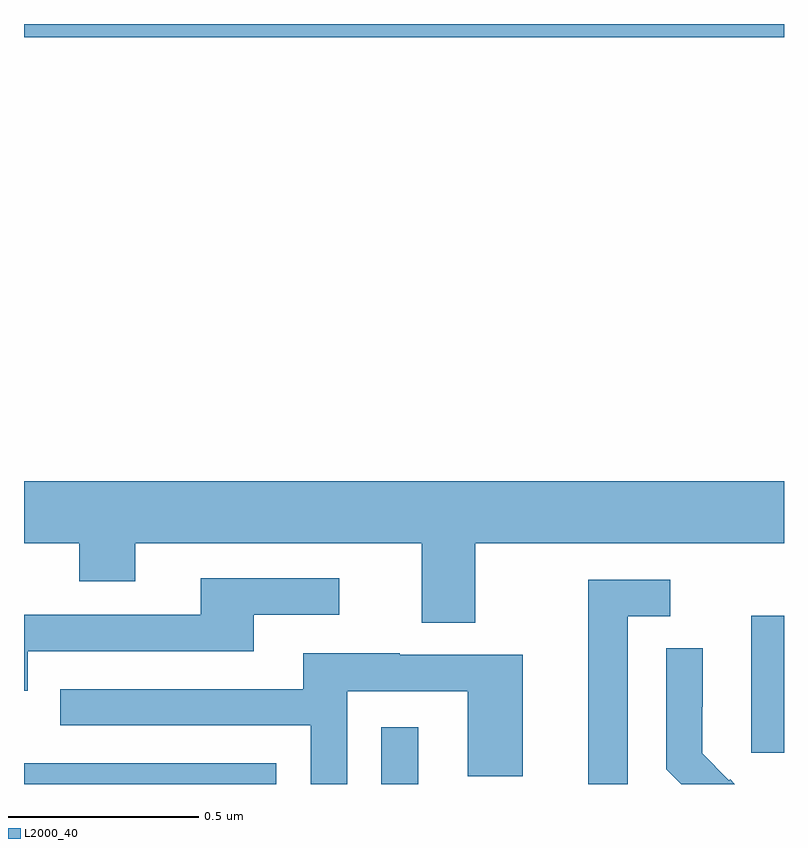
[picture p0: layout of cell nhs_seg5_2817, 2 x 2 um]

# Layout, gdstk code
import gdstk
lib = gdstk.Library(unit=1e-6, precision=1e-09)
def R(c, l, rs):  # rectangles x0, y0, x1, y1
    for r in rs: c.add(gdstk.rectangle(r[:2], r[2:], *l))
def P(c, l, *ps):  # polygons
    for p in ps: c.add(gdstk.Polygon(p, *l))
L2000_40 = (2000, 40)

nhs_seg5_2817 = lib.new_cell('nhs_seg5_2817')
R(nhs_seg5_2817, L2000_40, [(149,850.799,149.664,850.854), (149.94,850.799,150.037,850.948), (150.914,850.881,151,851.242), (149,852.764,151,852.799)])
P(nhs_seg5_2817, L2000_40, [(150.187,851.432),(151,851.432),(151,851.596),(149,851.596),(149,851.432),(149.146,851.432),(149.146,851.333),(149.293,851.333),(149.293,851.432),(150.047,851.432),(150.047,851.224),(150.187,851.224)],
  [(149.01,851.148),(149.605,851.148),(149.605,851.244),(149.83,851.244),(149.83,851.34),(149.465,851.34),(149.465,851.244),(149,851.244),(149,851.045),(149.01,851.045)],
  [(150.589,851.241),(150.7,851.241),(150.7,851.337),(150.485,851.337),(150.485,850.799),(150.589,850.799)],
  [(150.858,850.812),(150.855,850.809),(150.785,850.88),(150.785,851.002),(150.786,851.002),(150.786,851.156),(150.69,851.156),(150.69,850.838),(150.729,850.799),(150.871,850.799)],
  [(149.85,851.043),(150.168,851.043),(150.168,850.819),(150.313,850.819),(150.313,851.139),(149.989,851.139),(149.989,851.143),(149.735,851.143),(149.735,851.049),(149.095,851.049),(149.095,850.953),(149.754,850.953),(149.754,850.799),(149.85,850.799)])

lib.write_gds('nhs_seg5_2817.gds')
